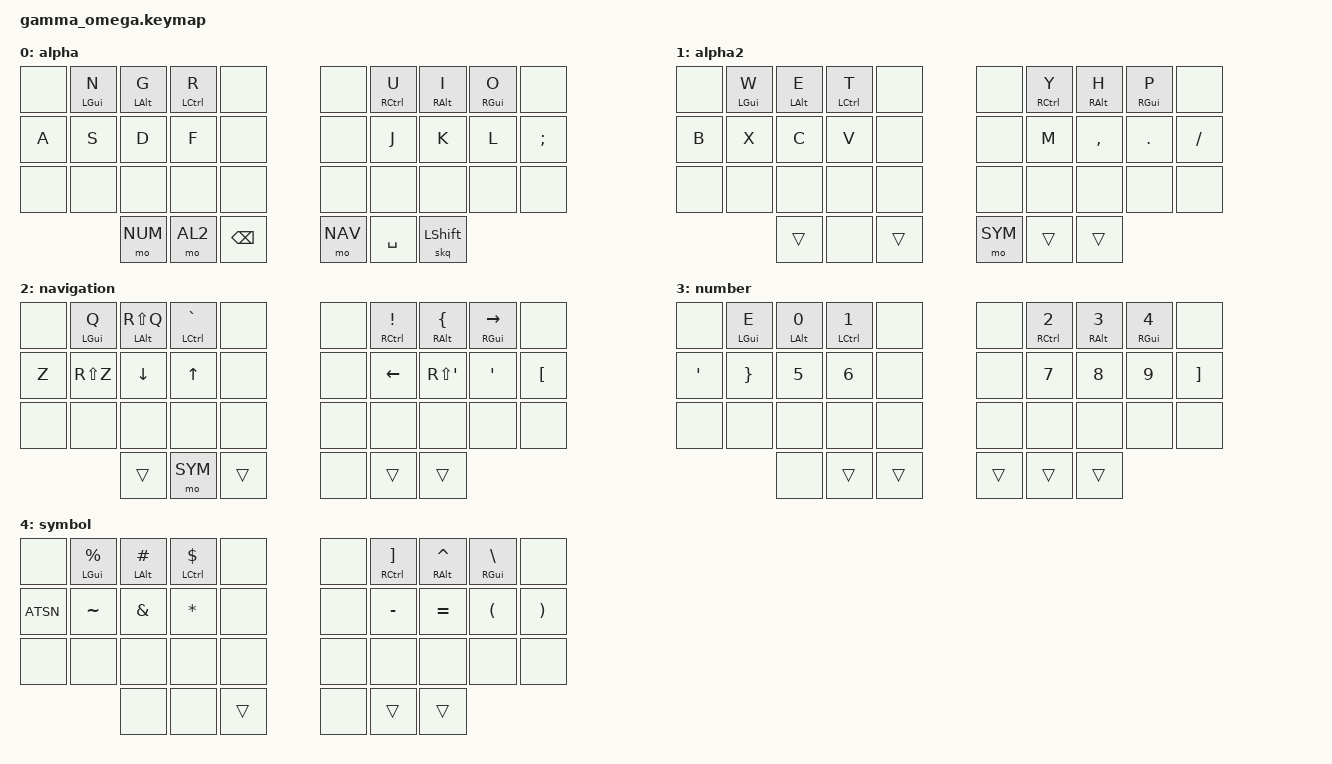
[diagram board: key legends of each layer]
#include <behaviors.dtsi>
#include <dt-bindings/zmk/keys.h>

/* Layers */
#define AL1 0
#define AL2 1
#define NAV 2
#define NUM 3
#define SYM 4
/ {
    combos {
        compatible = "zmk,combos";
        combo_ret {
            timeout-ms = <30>;
            key-positions = <6 7>;
            bindings = <&kp RET>;
            layers = <AL1 SYM NUM NAV>;
        };
        combo_del {
            timeout-ms = <30>;
            key-positions = <7 8>;
            bindings = <&kp DEL>;
            layers = <AL1 SYM NUM NAV>;
        };
        combo_esc {
            timeout-ms = <30>;
            key-positions = <1 2>;
            bindings = <&kp ESC>;
            layers = <AL1 SYM NUM NAV>;
        };
        combo_tab {
            timeout-ms = <30>;
            key-positions = <2 3>;
            bindings = <&kp TAB>;
            layers = <AL1 SYM NUM NAV>;
        };
    };
    behaviors {
        skq: sticky_key_quick_release {
            compatible = "zmk,behavior-sticky-key";
            #binding-cells = <1>;
            bindings = <&kp>;
            release-after-ms = <1000>;
            quick-release;
            lazy;
        };
        hm: homerow_mod {
            compatible = "zmk,behavior-hold-tap";
            #binding-cells = <2>;
            tapping-term-ms = <250>;
            quick-tap-ms = <250>;
            flavor = "tap-preferred";
            bindings = <&kp>, <&kp>;
        };
    };
//  0   1   2   3   4     5   6   7   8   9
// 10  11  12  13  14    15  16  17  18  19
// 20  21  22  23  24    25  26  27  28  29
//         30  31  32    33  34  35
    keymap {
        compatible = "zmk,keymap";

        alpha { // Layer 0
            bindings = <
&none   &hm LGUI N   &hm LALT G   &hm LCTRL R   &none       &none     &hm RCTRL U   &hm RALT I   &hm RGUI O   &none
&kp A   &kp S        &kp D        &kp F         &none       &none     &kp J         &kp K        &kp L        &kp SEMI
&none   &none        &none        &none         &none       &none     &none         &none        &none        &none
                     &mo NUM      &mo AL2       &kp BSPC    &mo NAV   &kp SPACE     &skq LSHIFT
        >;
        };

        alpha2 { // Layer 1
            bindings = <
&none   &hm LGUI W   &hm LALT E   &hm LCTRL T   &none       &none     &hm RCTRL Y   &hm RALT H   &hm RGUI P   &none
&kp B   &kp X        &kp C        &kp V         &none       &none     &kp M         &kp COMMA    &kp DOT      &kp FSLH
&none   &none        &none        &none         &none       &none     &none         &none        &none        &none
                     &trans       &none         &trans      &mo SYM   &trans        &trans
        >;
        };

        navigation { // Layer 2
            bindings = <
&none   &hm LGUI Q   &hm LALT RS(Q)   &hm LCTRL GRAVE   &none       &none     &hm RCTRL EXCL   &hm RALT LBRC   &hm RGUI RIGHT   &none
&kp Z   &kp RS(Z)    &kp DOWN         &kp UP            &none       &none     &kp LEFT         &kp RS(SQT)     &kp SQT          &kp LBKT
&none   &none        &none            &none             &none       &none     &none            &none           &none            &none
                     &trans           &mo SYM           &trans      &none     &trans           &trans
        >;
        };

        number { // Layer 3
            bindings = <
&none     &hm LGUI E   &hm LALT N0   &hm LCTRL N1   &none       &none     &hm RCTRL N2   &hm RALT N3   &hm RGUI N4   &none
&kp SQT   &kp RBRC     &kp N5        &kp N6         &none       &none     &kp N7         &kp N8        &kp N9        &kp RBKT
&none     &none        &none         &none          &none       &none     &none          &none         &none         &none
                       &none         &trans         &trans      &trans    &trans         &trans
        >;
        };

        symbol { // Layer 4
            bindings = <
&none      &hm LGUI PRCNT   &hm LALT HASH   &hm LCTRL DLLR   &none       &none     &hm RCTRL RBKT   &hm RALT CARET   &hm RGUI BSLH   &none
&kp ATSN   &kp TILDE        &kp AMPS        &kp STAR         &none       &none     &kp MINUS        &kp EQUAL        &kp LPAR        &kp RPAR
&none      &none            &none           &none            &none       &none     &none            &none            &none           &none
                            &none           &none            &trans      &none     &trans           &trans
        >;
        };
    };
 };
